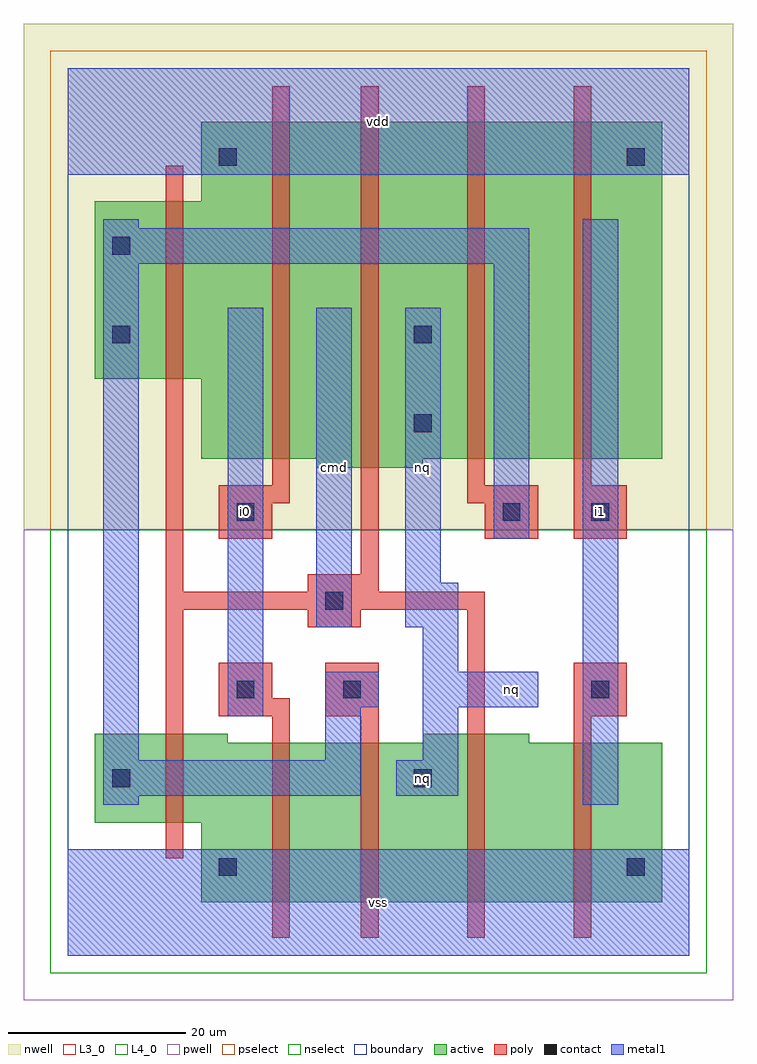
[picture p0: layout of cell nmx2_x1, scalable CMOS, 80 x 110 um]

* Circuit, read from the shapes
.subckt nmx2_x1 cmd i0 i1 nq vdd vss
M1 vss cmd n1 VSUBS nfet w=10u l=2u
M2 n2 i0 vss VSUBS nfet w=18u l=2u
M3 nq n1 n2 VSUBS nfet w=18u l=2u
M4 n3 cmd nq VSUBS nfet w=19u l=2u
M5 vss i1 n3 VSUBS nfet w=18u l=2u
M6 vdd cmd n1 n4 pfet w=20u l=2u
M7 n5 i0 vdd n4 pfet w=38u l=2u
M8 nq cmd n5 n4 pfet w=39u l=2u
M9 n6 n1 nq n4 pfet w=38u l=2u
M10 vdd i1 n6 n4 pfet w=38u l=2u
.ends

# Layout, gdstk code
import gdstk
lib = gdstk.Library(unit=1e-6, precision=1e-09)
def R(c, l, rs):  # rectangles x0, y0, x1, y1
    for r in rs: c.add(gdstk.rectangle(r[:2], r[2:], *l))
L3_0 = (3, 0)
L4_0 = (4, 0)
contact = (25, 0)
pwell = (41, 0)
nwell = (42, 0)
active = (43, 0)
pselect = (44, 0)
nselect = (45, 0)
poly = (46, 0)
metal1 = (49, 0)
boundary = (63, 0)

nmx2_x1 = lib.new_cell('nmx2_x1')
R(nmx2_x1, L3_0, [(15,6,67,15), (3,15,67,24), (3,24,18,25), (40,24,52,25)])
R(nmx2_x1, L4_0, [(28,55,40,56), (15,56,67,65), (3,65,67,85), (15,85,67,94)])
R(nmx2_x1, contact, [(17,9,19,11), (63,9,65,11), (5,19,7,21), (39,19,41,21), (19,29,21,31), (31,29,33,31), (59,29,61,31), (29,39,31,41), (19,49,21,51), (49,49,51,51), (59,49,61,51), (39,59,41,61), (5,69,7,71), (39,69,41,71), (5,79,7,81), (17,89,19,91), (63,89,65,91)])
R(nmx2_x1, pwell, [(-5,-5,75,48)])
R(nmx2_x1, nwell, [(-5,48,75,105)])
R(nmx2_x1, active, [(15,6,67,15), (3,15,67,24), (3,24,18,25), (40,24,52,25), (28,55,40,56), (15,56,67,65), (3,65,67,85), (15,85,67,94)])
R(nmx2_x1, pselect, [(-2,48,72,102)])
R(nmx2_x1, nselect, [(-2,-2,72,48)])
R(nmx2_x1, poly, [(23,2,25,27), (33,2,35,27), (45,2,47,39), (57,2,59,27), (11,11,13,39), (17,27,25,29), (29,27,35,33), (57,27,63,33), (17,29,23,33), (27,37,33,39), (11,39,47,41), (11,41,13,89), (27,41,35,43), (33,43,35,98), (17,47,23,51), (47,47,53,51), (57,47,63,53), (17,51,25,53), (45,51,53,53), (23,53,25,98), (45,53,47,98), (57,53,59,98)])
R(nmx2_x1, metal1, [(0,0,70,12), (4,17,8,18), (58,17,62,83), (4,18,33,22), (37,18,44,22), (4,22,8,78), (29,22,33,28), (40,22,44,28), (18,27,22,73), (29,28,35,32), (40,28,53,32), (40,32,44,37), (28,37,32,73), (38,37,44,42), (38,42,42,73), (48,47,52,78), (4,78,52,82), (4,82,8,83), (0,88,70,100)])
R(nmx2_x1, boundary, [(0,0,70,100)])
nmx2_x1.add(gdstk.Label('i0', (20,50), layer=49, texttype=0))
nmx2_x1.add(gdstk.Label('cmd', (30,55), layer=49, texttype=0))
nmx2_x1.add(gdstk.Label('vss', (35,6), layer=49, texttype=0))
nmx2_x1.add(gdstk.Label('nq', (40,20), layer=49, texttype=0))
nmx2_x1.add(gdstk.Label('nq', (50,30), layer=49, texttype=0))
nmx2_x1.add(gdstk.Label('nq', (40,55), layer=49, texttype=0))
nmx2_x1.add(gdstk.Label('vdd', (35,94), layer=49, texttype=0))
nmx2_x1.add(gdstk.Label('i1', (60,50), layer=49, texttype=0))

lib.write_gds('nmx2_x1.gds')
